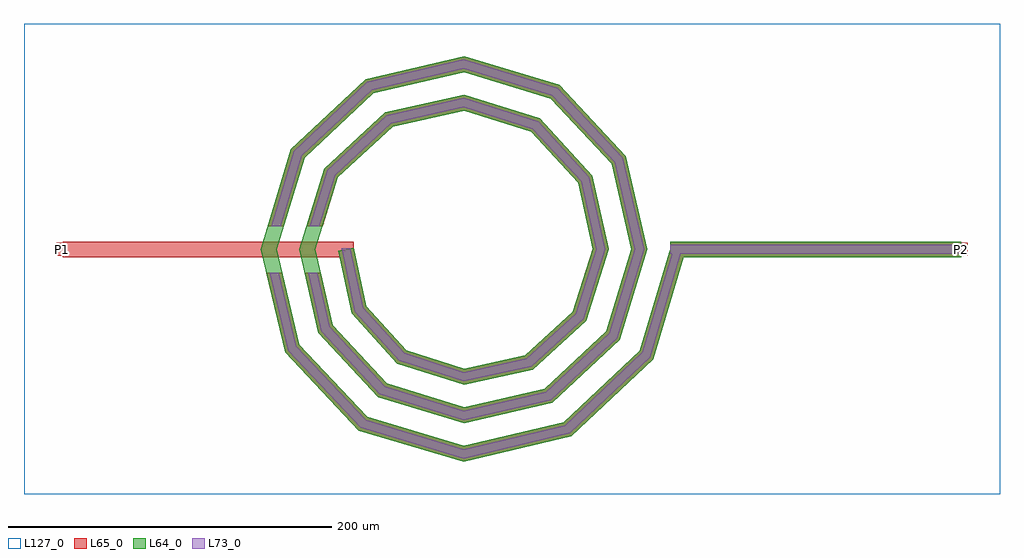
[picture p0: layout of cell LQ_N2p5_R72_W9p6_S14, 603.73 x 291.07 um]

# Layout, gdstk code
import gdstk
lib = gdstk.Library(unit=1e-6, precision=1e-09)
def R(c, l, rs):  # rectangles x0, y0, x1, y1
    for r in rs: c.add(gdstk.rectangle(r[:2], r[2:], *l))
def P(c, l, *ps):  # polygons
    for p in ps: c.add(gdstk.Polygon(p, *l))
L64_0 = (64, 0)
L65_0 = (65, 0)
L73_0 = (73, 0)
L127_0 = (127, 0)

lq_n2p5_r72_w9p6_s14 = lib.new_cell('LQ_N2p5_R72_W9p6_S14')
R(lq_n2p5_r72_w9p6_s14, L64_0, [(127.704,-4.8,307.704,4.8)])
P(lq_n2p5_r72_w9p6_s14, L64_0, [(-60.37,-35.139),(-35.713,-62.336),(0.234,-73.83),(38.107,-65.547),(67.495,-38.711),(79.797,0.217),(70.722,41.077),(41.708,72.655),(0.203,85.764),(-44.049,75.897),(-77.816,44.703),(-91.732,0.191),(-81.071,-47.022),(-47.696,-82.979),(0.18,-97.699),(49.997,-86.244),(88.141,-50.689),(103.666,0.17),(91.417,52.972),(53.68,93.305),(0.161,109.634),(-55.948,96.589),(-98.469,56.671),(-115.601,0.153),(-101.761,-58.926),(-59.662,-103.633),(0.146,-121.569),(61.903,-106.933),(108.798,-62.651),(127.905,1.373),(137.104,-1.373),(117.261,-67.864),(66.622,-115.68),(0.146,-131.504),(-64.886,-112.089),(-110.515,-63.632),(-125.536,0.153),(-106.917,61.908),(-60.642,105.351),(0.161,119.568),(58.931,101.744),(100.187,57.65),(113.6,0.17),(96.571,-55.955),(54.658,-95.023),(0.18,-107.632),(-52.98,-91.398),(-89.86,-51.665),(-101.664,0.191),(-86.223,50.006),(-48.67,84.697),(0.203,95.696),(47.033,81.048),(79.535,45.674),(89.727,0.217),(75.872,-44.062),(42.677,-74.374),(0.234,-83.759),(-41.093,-70.695),(-69.215,-39.677),(-77.52,-1.008),(-68.134,1.008)])
R(lq_n2p5_r72_w9p6_s14, L65_0, [(-248.027,-4.8,-68.027,4.8), (127.704,-4.8,307.704,4.8), (-252.027,-4,-244.027,4), (303.704,-4,311.704,4)])
P(lq_n2p5_r72_w9p6_s14, L65_0, [(-101.761,-58.926),(-59.662,-103.633),(0.146,-121.569),(61.903,-106.933),(108.798,-62.651),(127.905,1.373),(137.104,-1.373),(117.261,-67.864),(66.622,-115.68),(0.146,-131.504),(-64.885,-112.089),(-110.515,-63.632),(-122.109,-14.4),(-112.246,-14.4)],
  [(-81.071,-47.022),(-47.696,-82.979),(0.18,-97.699),(49.997,-86.244),(88.142,-50.689),(103.666,0.17),(91.417,52.972),(53.681,93.305),(0.161,109.634),(-55.949,96.589),(-98.469,56.671),(-111.214,14.4),(-121.241,14.4),(-106.917,61.908),(-60.642,105.351),(0.161,119.568),(58.931,101.744),(100.187,57.65),(113.6,0.17),(96.571,-55.955),(54.658,-95.023),(0.18,-107.632),(-52.98,-91.398),(-89.86,-51.665),(-98.343,-14.4),(-88.497,-14.4)],
  [(-35.713,-62.336),(0.234,-73.83),(38.107,-65.547),(67.495,-38.711),(79.797,0.218),(70.723,41.077),(41.708,72.655),(0.203,85.764),(-44.049,75.897),(-77.817,44.703),(-87.209,14.4),(-97.26,14.4),(-86.223,50.006),(-48.67,84.697),(0.203,95.696),(47.033,81.048),(79.535,45.674),(89.727,0.218),(75.872,-44.062),(42.677,-74.375),(0.234,-83.759),(-41.093,-70.695),(-69.215,-39.677),(-77.52,-1.008),(-68.134,1.008),(-60.37,-35.139)])
R(lq_n2p5_r72_w9p6_s14, L73_0, [(127.704,-2.8,307.704,2.8)])
P(lq_n2p5_r72_w9p6_s14, L73_0, [(-103.585,-59.906),(-60.75,-105.395),(0.085,-123.639),(62.886,-108.755),(110.561,-63.737),(129.821,0.801),(135.187,0.801),(115.498,-66.778),(65.639,-113.858),(0.085,-129.434),(-63.797,-110.327),(-108.692,-62.652),(-120.054,-14.4),(-114.301,-14.4)],
  [(-82.902,-47.989),(-48.797,-84.733),(0.105,-99.768),(50.968,-88.073),(89.898,-51.786),(105.736,0.099),(93.244,53.947),(54.774,95.063),(0.094,111.703),(-56.926,98.415),(-100.229,57.762),(-113.303,14.4),(-119.152,14.4),(-105.157,60.817),(-59.664,103.526),(0.094,117.498),(57.837,99.986),(98.36,56.676),(111.531,0.099),(94.815,-54.858),(53.687,-93.194),(0.105,-105.563),(-51.879,-89.644),(-88.029,-50.698),(-96.291,-14.4),(-90.548,-14.4)],
  [(-36.833,-64.077),(0.137,-75.898),(39.059,-67.386),(69.24,-39.826),(81.866,0.127),(72.559,42.035),(42.817,74.404),(0.119,87.833),(-45.012,77.731),(-79.568,45.807),(-89.303,14.4),(-95.166,14.4),(-84.472,48.901),(-47.708,82.864),(0.119,93.627),(45.924,79.3),(77.699,44.717),(87.659,0.127),(74.127,-42.947),(41.725,-72.535),(0.137,-81.691),(-39.972,-68.953),(-67.372,-38.731),(-75.564,0.588),(-70.089,0.588),(-62.213,-36.085)])
R(lq_n2p5_r72_w9p6_s14, L127_0, [(-272.027,-151.504,331.704,139.568)])
lq_n2p5_r72_w9p6_s14.add(gdstk.Label('P2', (307.704,0), layer=65, texttype=0))
lq_n2p5_r72_w9p6_s14.add(gdstk.Label('P1', (-248.027,0), layer=65, texttype=0))
lq_n2p5_r72_w9p6_s14.add(gdstk.Label('P2', (311.704,0), layer=145, texttype=0))
lq_n2p5_r72_w9p6_s14.add(gdstk.Label('P1', (-252.027,0), layer=145, texttype=0))

lib.write_gds('LQ_N2p5_R72_W9p6_S14.gds')
